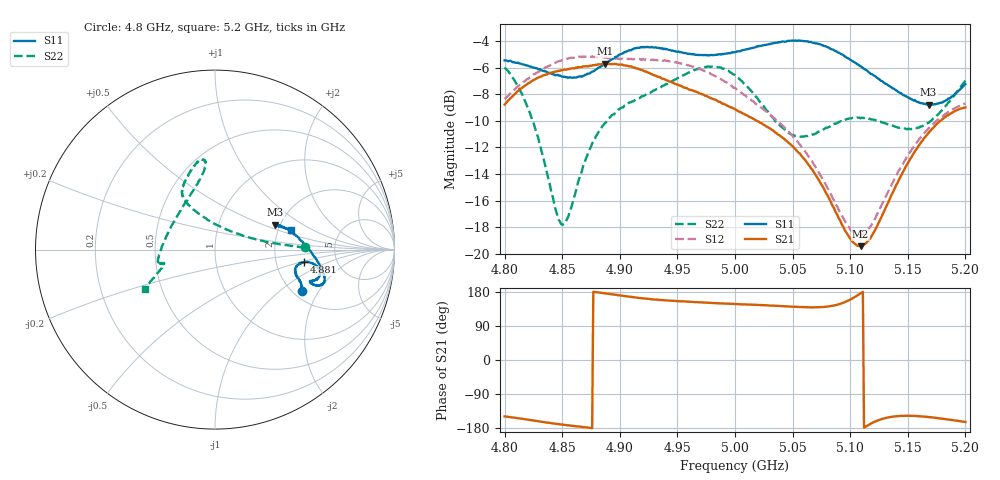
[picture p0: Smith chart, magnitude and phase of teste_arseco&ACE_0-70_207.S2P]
! Network Analyzer HP8722D
! Hewlett-Packard
! Data name: Linha & Wilkinson
! Saver's name: Rodrigo Anjos
! Comments: Teste da utilização de aquisição
! continua pelo VNA HP8722D
! Time and date: 8/5/2025 14:29
!  Frequency  S11  S21  S12  S22
# HZ  S  MA R 50
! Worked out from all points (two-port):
!   401 points, 4.8 GHz to 5.2 GHz, reference 50 ohm
!   highest |S21| = -5.68 dB at 4.887 GHz (marker M1); lowest = -19.4 dB at 5.109 GHz (marker M2)
!   |S21| within 3 dB of the highest: 4.801 GHz to 4.989 GHz (187.7 MHz wide, 3.84 % of centre)
!   lowest |S11| = -8.8 dB at 5.168 GHz (marker M3), VSWR 2.14, Z = 94.3 + j30.2 ohm
!   |S11| at or under -10 dB: nowhere
!   |S22| runs from -17.8 to -5.9 dB; largest |S21 - S12| = 1.1
!   S11 on the Smith chart (normalised r, x): 4.8 GHz: 2.23, -1.43; 4.881 GHz: 2.89, -0.54; 5.2 GHz: 2.33, +0.64
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4.8e9  0.5347 -25.4  0.3646 -148.9  0.3828 10.5  0.5026 1.4
4.811e9  0.5241 -22.7  0.4078 -153.4  0.4252 8.9  0.4315 2.8
4.823e9  0.5066 -20.4  0.4453 -158.7  0.4632 7.4  0.3287 6.2
4.849e9  0.4661 -15.9  0.4907 -170.0  0.5335 3.0  0.1292 58.9
4.855e9  0.4597 -14.3  0.4957 -172.4  0.5432 2.1  0.1369 85.1
4.867e9  0.4641 -10.9  0.5047 -176.5  0.5507 0.5  0.204 112.1
4.881e9  0.5003 -8.1  0.5166 178.5  0.5503 -0.7  0.2842 120.1
4.887e9  0.5204 -7.7  0.5201 176.0  0.5477 -0.8  0.3098 121.3
4.913e9  0.5943 -11.0  0.502 165.2  0.5403 -0.6  0.3788 118.9
4.934e9  0.5953 -15.4  0.4628 158.4  0.5365 -1.3  0.4185 113.0
4.975e9  0.5592 -18.4  0.3931 151.4  0.4864 -5.2  0.5056 99.2
5e9  0.5744 -19.2  0.3496 147.7  0.4218 -5.3  0.4696 96.6
5.018e9  0.6007 -19.3  0.3179 145.7  0.3669 -2.4  0.3911 103.7
5.046e9  0.634 -17.2  0.2631 141.3  0.2892 3.6  0.2858 134.3
5.067e9  0.6242 -13.4  0.2073 139.1  0.2224 9.4  0.2809 164.5
5.098e9  0.5453 -2.9  0.1175 156.1  0.127 37.1  0.3215 -170.7
5.109e9  0.5077 2.5  0.1067 175.8  0.1173 58.8  0.3233 -167.3
5.119e9  0.4739 7.3  0.1173 -166.1  0.1293 78.1  0.3205 -166.2
5.134e9  0.4279 14.3  0.1595 -150.8  0.1746 94.7  0.3051 -165.6
5.168e9  0.3637 22.5  0.2853 -150.6  0.2964 102.5  0.3111 -160.9
5.182e9  0.3755 20.2  0.3261 -155.8  0.3342 102.6  0.3564 -157.0
5.2e9  0.4354 14.8  0.3554 -163.6  0.3683 102.8  0.4488 -150.5
